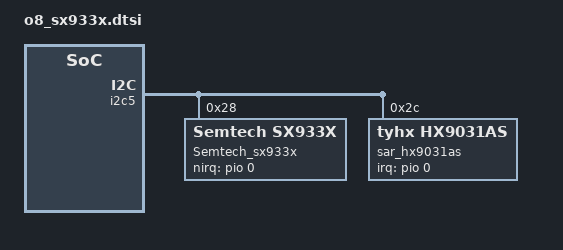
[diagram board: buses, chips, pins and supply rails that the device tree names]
/* Copyright (c) 2016, The Linux Foundation. All rights reserved.
 *
 * This program is free software; you can redistribute it and/or modify
 * it under the terms of the GNU General Public License version 2 and
 * only version 2 as published by the Free Software Foundation.
 *
 * This program is distributed in the hope that it will be useful,
 * but WITHOUT ANY WARRANTY; without even the implied warranty of
 * MERCHANTABILITY or FITNESS FOR A PARTICULAR PURPOSE.  See the
 * GNU General Public License for more details.
 */
/*o8 code for SR-AL7160A-01-171 by jiashixian at 2024/03/24 start*/
/*o8 code for SR-AL7160A-01-184 by jiashixian at 2024/03/24 start*/
/*A06 code for SR-AL7160A-01-185 | SR-AL7160A-01-183 by huofudong at 20240409 start*/
/*A06 code for AL7160A-66 by jiashixian at 20240415 start*/
/*A06 code for AL7160A-148 by jiashixian at 20240426 start*/
/*A06 code for AL7160A-417 jiashixian at 20240506 start*/
/*a06 code for AL7160A-1118 by zhawei at 20240514 start*/
/*a06 code for AL7160A-1542 by jiashixian at 20240525 start*/
/*a06 code for AL7160A-2783 by jiashixian at 20240607 start*/
/*a06 code for AL7160A-3523 by jiashixian at 20240621 start*/
/*a06 code for AL7160A-3673 by jiashixian at 20240628 start*/
/* I2C device */
&i2c5{
    Semtech_sx933x@28 {
        compatible = "Semtech,sx933x";
        reg = <0x28>;
        status = "okay";
        Semtech,nirq-gpio = <&pio 0 0x00>;
        /*use PH3/4 as the reference sensor
        set it to 0xff if the ref-phases-x is not used*/
        semtech,main-phases = <0x07>;
        semtech,ref-phases = <0x18>;
        semtech,fw-num = <240628>;
        Semtech,reg-init = <
        0x4004 0x00000070
        0x801C 0x00000031
        0x8024 0x10000A76
        0x8028 0x24928349
        0x802C 0x10000A66
        0x8030 0x24B202CE
        0x8034 0x10000A8E
        0x8038 0x25920351
        0x803C 0x10000A76
        0x8040 0x24963564
        0x8044 0x10000A66
        0x8048 0x2C9203D8
        0x804C 0x0000088E
        0x8050 0x80001EE6
        0x8054 0x10328B00
        0x8058 0x20200930
        0x805C 0x0D005000
        0x806C 0x1D001D00
        0x8070 0x00010000
        0x8074 0x10323900
        0x8078 0x20200B30
        0x807C 0x07005000
        0x808C 0x00050005
        0x8090 0x00020000
        0x8094 0x10322800
        0x8098 0x20200B30
        0x809C 0x01005000
        0x80AC 0x002D002D
        0x80B0 0x00020000
        0x80B4 0x1612FF00
        0x80B8 0x20600031
        0x80BC 0x54AC5000
        0x80D4 0x1632FF00
        0x80D8 0x20600031
        0x80DC 0x54AC5000
        0x80F4 0x10162800
        0x80F8 0x20400031
        0x80FC 0x54AC5300
        0x8124 0x04000003
        0x8128 0x04000004
        0x81A4 0x01C40010
        0x8020 0x001F001F>;
    };
sar_hx9031as@2C {
   compatible = "tyhx,hx9031as";
       reg = <0x2C>;
       tyhx,irq-gpio = <&pio 0 0x00>;
       tyhx,channel-flag = <0x1F>;
       tyhx,fw-num = <240628>;
    };
};
/*a06 code for AL7160A-3673 by jiashixian at 20240628 start*/
/*a06 code for AL7160A-3523 by jiashixian at 20240621 end*/
/*a06 code for AL7160A-2783 by jiashixian at 20240607 end*/
/*a06 code for AL7160A-1542 by jiashixian at 20240525 end*/
/*a06 code for AL7160A-1118 by zhawei at 20240514 end*/
/*A06 code for AL7160A-417 jiashixian at 20240506 end*/
/*A06 code for AL7160A-148 by jiashixian at 20240426 end*/
/*A06 code for AL7160A-66 by jiashixian at 20240415 end*/
/*A06 code for SR-AL7160A-01-185 | SR-AL7160A-01-183 by huofudong at 20240409 end*/
/*o8 code for SR-AL7160A-01-184 by jiashixian at 2024/03/24 end*/
/*o8 code for SR-AL7160A-01-171 by jiashixian at 2024/03/24 end*/
